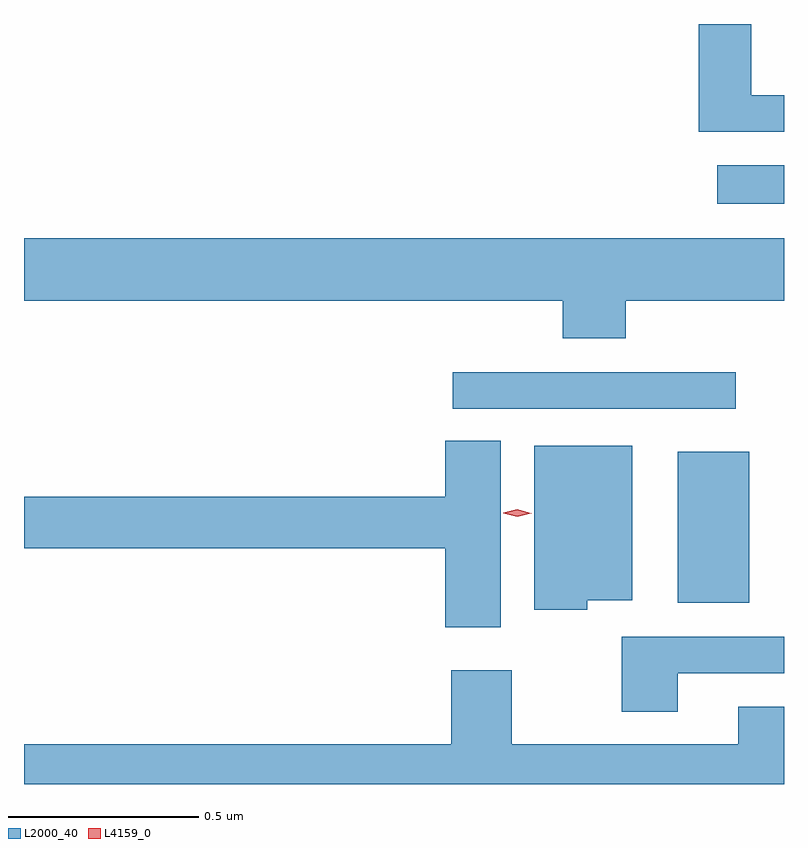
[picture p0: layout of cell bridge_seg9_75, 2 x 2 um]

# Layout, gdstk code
import gdstk
lib = gdstk.Library(unit=1e-6, precision=1e-09)
def R(c, l, rs):  # rectangles x0, y0, x1, y1
    for r in rs: c.add(gdstk.rectangle(r[:2], r[2:], *l))
def P(c, l, *ps):  # polygons
    for p in ps: c.add(gdstk.Polygon(p, *l))
L2000_40 = (2000, 40)
L4159_0 = (4159, 0)

bridge_seg9_75 = lib.new_cell('bridge_seg9_75')
R(bridge_seg9_75, L2000_40, [(1022.66,1218.269,1022.848,1218.667), (1022.067,1218.78,1022.812,1218.876), (1022.763,1219.319,1022.939,1219.42)])
P(bridge_seg9_75, L2000_40, [(1022.939,1219.605),(1022.853,1219.605),(1022.853,1219.792),(1022.714,1219.792),(1022.714,1219.509),(1022.939,1219.509)],
  [(1022.522,1219.064),(1022.939,1219.064),(1022.939,1219.228),(1020.939,1219.228),(1020.939,1219.064),(1022.357,1219.064),(1022.357,1218.965),(1022.522,1218.965)],
  [(1022.194,1218.695),(1022.048,1218.695),(1022.048,1218.548),(1020.939,1218.548),(1020.939,1218.412),(1022.048,1218.412),(1022.048,1218.204),(1022.194,1218.204)],
  [(1022.421,1218.275),(1022.539,1218.275),(1022.539,1218.682),(1022.282,1218.682),(1022.282,1218.251),(1022.421,1218.251)],
  [(1022.659,1218.084),(1022.939,1218.084),(1022.939,1218.18),(1022.512,1218.18),(1022.512,1217.982),(1022.659,1217.982)],
  [(1022.939,1217.995),(1022.819,1217.995),(1022.819,1217.896),(1022.223,1217.896),(1022.223,1218.091),(1022.063,1218.091),(1022.063,1217.896),(1020.939,1217.896),(1020.939,1217.792),(1022.939,1217.792)])
P(bridge_seg9_75, L4159_0, [(1022.237,1218.495),(1022.2,1218.505),(1022.2,1218.506),(1022.2,1218.506),(1022.237,1218.515),(1022.274,1218.505),(1022.275,1218.505),(1022.274,1218.505)])

lib.write_gds('bridge_seg9_75.gds')
